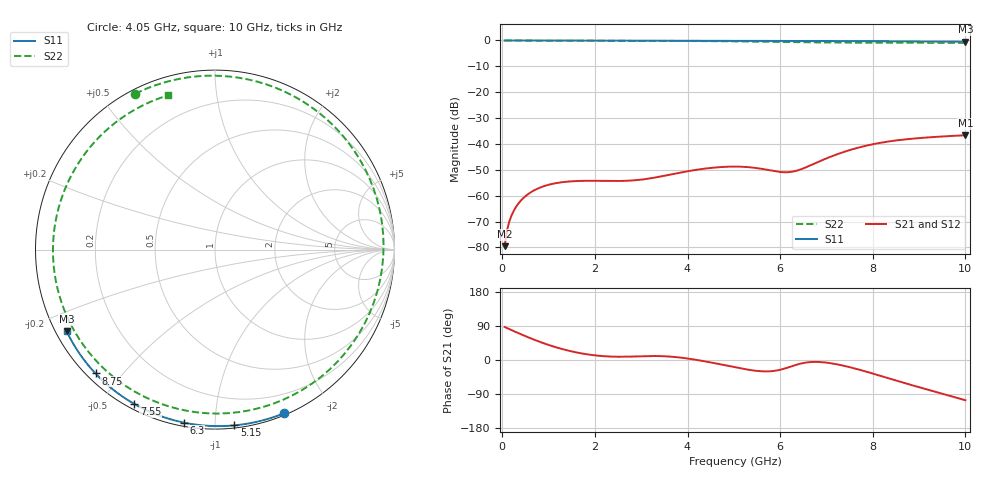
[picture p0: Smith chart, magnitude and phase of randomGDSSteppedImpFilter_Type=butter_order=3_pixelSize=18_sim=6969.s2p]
! freq	dB(S11)	phase(S11)	dB(S12)	phase(S12)
!  dB(S21)	phase(S21)	dB(S22)	phase(S22)
!S-par simulation data
#  GHz  S  DB  R 50
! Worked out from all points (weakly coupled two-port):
!   200 points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, 50 MHz to 10 GHz, reference 50 ohm
!   highest |S21| = -36.66 dB at 10 GHz (marker M1); lowest = -79.5 dB at 50 MHz (marker M2)
!   lowest |S11| = -0.5 dB at 10 GHz (marker M3), VSWR 34.42, Z = 1.55 - j12.9 ohm
!   |S11| at or under -10 dB: nowhere
!   |S22| runs from -0.9 to 0.0 dB; largest |S21 - S12| = 0
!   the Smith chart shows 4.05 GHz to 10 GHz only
!   S11 on the Smith chart (normalised r, x): 4.05 GHz: 0.02, -1.51; 5.15 GHz: 0.02, -1.12; 6.3 GHz: 0.02, -0.83; 7.55 GHz: 0.02, -0.60; 8.75 GHz: 0.02, -0.42; 10 GHz: 0.03, -0.26
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0.05  -0.00 -0.9  -79.54 87.2  -79.54 87.2  -0.01 -4.8
0.1  -0.00 -1.7  -73.56 84.3  -73.56 84.3  -0.02 -9.6
0.2  -0.00 -3.5  -67.64 78.8  -67.64 78.8  -0.03 -19.0
0.5  -0.01 -8.7  -60.21 62.9  -60.21 62.9  -0.06 -46.3
0.75  -0.02 -13.0  -57.39 50.6  -57.39 50.6  -0.08 -67.3
1.05  -0.02 -18.1  -55.58 37.7  -55.58 37.7  -0.10 -90.1
1.75  -0.04 -30.0  -54.29 16.6  -54.29 16.6  -0.12 -134.0
2.55  -0.06 -43.3  -54.33 8.6  -54.33 8.6  -0.14 -173.8
3.4  -0.08 -57.0  -52.67 10.3  -52.67 10.3  -0.17 147.9
4.05  -0.09 -67.1  -50.42 3.1  -50.42 3.1  -0.22 117.1
4.6  -0.11 -75.5  -49.12 -8.8  -49.12 -8.8  -0.28 87.7
5.05  -0.13 -82.2  -48.77 -19.8  -48.77 -19.8  -0.36 60.0
5.15  -0.13 -83.7  -48.81 -22.1  -48.81 -22.1  -0.38 53.3
5.75  -0.16 -92.5  -50.12 -30.0  -50.12 -30.0  -0.52 9.5
6.3  -0.18 -100.3  -50.60 -14.5  -50.60 -14.5  -0.65 -34.4
6.7  -0.21 -105.9  -47.93 -5.1  -47.93 -5.1  -0.74 -66.1
7.1  -0.23 -111.5  -44.88 -8.7  -44.88 -8.7  -0.80 -95.7
7.55  -0.26 -117.7  -42.13 -20.4  -42.13 -20.4  -0.84 -125.9
8.35  -0.33 -128.5  -39.04 -48.6  -39.04 -48.6  -0.88 -171.9
8.75  -0.37 -134.0  -38.16 -63.1  -38.16 -63.1  -0.90 167.6
9.35  -0.43 -142.1  -37.29 -83.8  -37.29 -83.8  -0.92 138.3
10  -0.50 -151.1  -36.66 -106.2  -36.66 -106.2  -0.93 106.9
